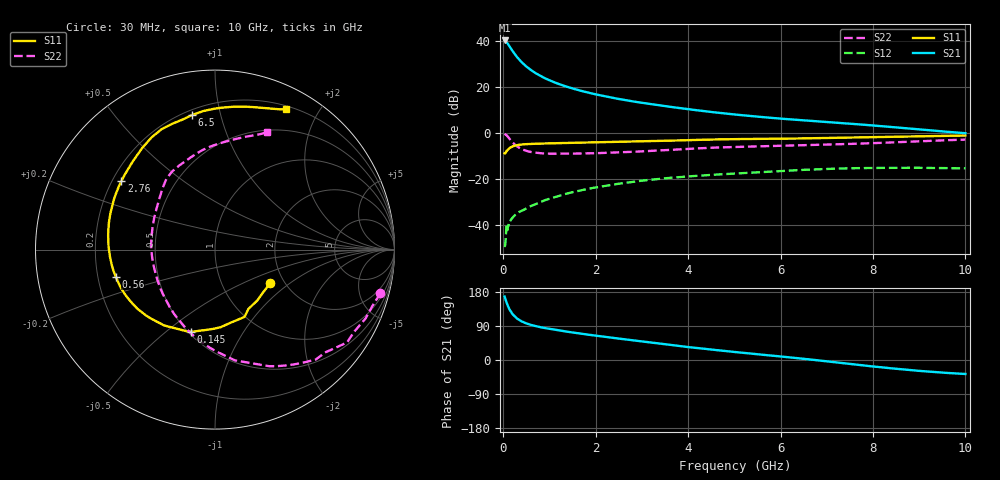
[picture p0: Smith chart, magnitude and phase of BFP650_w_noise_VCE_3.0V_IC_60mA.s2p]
! Infineon Technologies  Discrete & RF Semiconductors
! BFP650
! VCE =  3.0 V,  IC =  60 mA
! Common Emitter S-Parameters:  Jan 2016
# GHz  S  MA  R  50
!  f  S11  S21  S12  S22
! GHz  MAG  ANG  MAG  ANG  MAG  ANG  MAG  ANG
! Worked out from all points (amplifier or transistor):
!   229 points, 30 MHz to 10 GHz, reference 50 ohm
!   highest |S21| = 40.1 dB at 30 MHz (marker M1)
!   |S21| within 3 dB of that: start of sweep to 149.6 MHz
!   unconditionally stable (mu >= 1): 1.645 GHz to end of sweep
!   at 280 MHz: K = 0.51, MSG = 34.3 dB, |S12| = -35.1 dB
!   at 1.78 GHz: K = 1.01, MAG = 20.6 dB, |S12| = -24.5 dB
!   at 10 GHz: K = 1.03, MAG = 6.6 dB, |S12| = -15.4 dB
!   lowest NFmin = 1.07 dB at 450 MHz
!   S11 on the Smith chart (normalised r, x): 30 MHz: 1.69, -0.73; 145 MHz: 0.52, -0.61; 560 MHz: 0.28, -0.12; 2.76 GHz: 0.24, +0.31; 6.5 GHz: 0.23, +0.81; 10 GHz: 0.24, +1.61
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0.03  0.3603 -31.5  100.8 167.5  0.0036 71.0  0.9536 -14.8
0.04  0.3582 -41.1  99.91 163.3  0.0036 94.6  0.9323 -19.5
0.05  0.3689 -50.5  97.17 159.3  0.0045 79.7  0.9224 -24.6
0.06  0.3793 -60.7  95.96 156.0  0.0065 42.2  0.8996 -30.8
0.08  0.4124 -74.0  90.66 148.9  0.0087 67.2  0.8679 -39.0
0.11  0.4405 -90.5  82.33 140.0  0.0094 56.3  0.8043 -51.2
0.145  0.4766 -106.5  72.58 131.6  0.012 59.6  0.7252 -63.6
0.2  0.5086 -123.8  59.91 121.2  0.0146 54.3  0.6271 -79.8
0.24  0.524 -132.7  52.65 115.9  0.016 50.7  0.5699 -88.8
0.3  0.5435 -142.7  43.88 109.3  0.0182 56.7  0.5091 -101.1
0.4  0.5603 -153.7  33.95 101.8  0.0205 54.3  0.4443 -116.2
0.56  0.5732 -164.8  24.78 94.3  0.0249 55.0  0.3931 -133.7
0.7  0.5816 -171.6  19.72 89.3  0.0284 56.2  0.3721 -145.6
1  0.5934 178.4  13.78 82.1  0.0374 56.7  0.3541 -163.0
1.7  0.614 162.4  8.079 69.3  0.0573 53.2  0.3579 172.9
2.76  0.6457 143.9  4.897 52.5  0.086 43.6  0.3872 149.3
3.4  0.668 134.2  3.927 43.1  0.1014 36.5  0.4156 138.9
5.1  0.7348 112.9  2.451 20.1  0.1331 19.8  0.4984 117.7
6.5  0.7599 99.9  1.877 3.1  0.158 6.4  0.5418 101.8
6.8  0.7681 96.8  1.788 -0.7  0.1625 2.9  0.5512 99.1
8.4  0.8155 77.4  1.34 -22.0  0.1748 -14.8  0.6199 80.9
10  0.877 63.0  0.984 -36.9  0.1702 -27.4  0.7144 66.3
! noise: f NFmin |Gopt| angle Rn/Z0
0.45  1.07  0.44  -171  0.06
0.9  1.08  0.45  -165  0.06
1.9  1.23  0.48  -153  0.07
2.4  1.3  0.46  -142  0.09
3.5  1.52  0.48  -119  0.15
